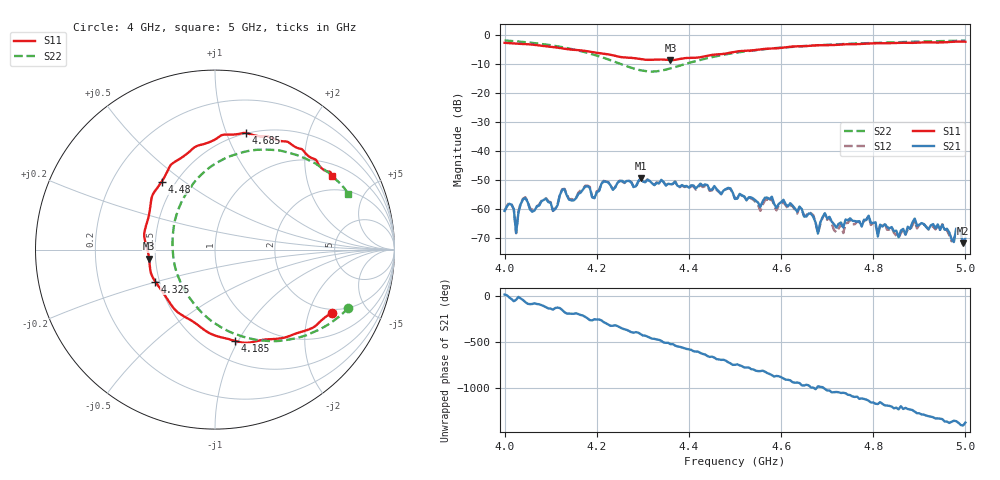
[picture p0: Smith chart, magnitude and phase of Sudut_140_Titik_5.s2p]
# Hz S RI R 50
! CMT, C1220, 16058040, 17.2.0/1
! Date: 15/08/2018 12:20:38
! Data: Format (Calibration Info)
! Freq  S11: Re/Im (F2)  S21: Re/Im (F2)  S12: Re/Im (F2)  S22: Re/Im (F2)
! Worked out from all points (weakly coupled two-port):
!   201 points, 4 GHz to 5 GHz, reference 50 ohm
!   highest |S21| = -49.51 dB at 4.295 GHz (marker M1); lowest = -71.9 dB at 4.995 GHz (marker M2)
!   lowest |S11| = -8.6 dB at 4.36 GHz (marker M3), VSWR 2.18, Z = 23 - j2.74 ohm
!   |S11| at or under -10 dB: nowhere
!   |S22| runs from -12.6 to -1.8 dB; largest |S21 - S12| = 0.00019
!   S11 on the Smith chart (normalised r, x): 4 GHz: 1.85, -2.86; 4.185 GHz: 0.69, -0.97; 4.325 GHz: 0.47, -0.20; 4.48 GHz: 0.42, +0.42; 4.685 GHz: 0.49, +1.17; 5 GHz: 1.40, +2.85
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4e9  0.6497 -0.3506  0.000901 0.000188  0.000891 0.000238  0.743 -0.3245
4.015e9  0.6227 -0.3706  0.000942 -0.000723  0.00102 -0.000662  0.7107 -0.3562
4.025e9  0.6008 -0.3871  0.000271 -0.000272  0.000283 -0.000253  0.6873 -0.3765
4.04e9  0.5683 -0.4178  0.000973 -0.00109  0.00106 -0.00106  0.6478 -0.4064
4.105e9  0.3846 -0.4911  -0.000821 -0.000433  -0.000804 -0.000446  0.4373 -0.4968
4.125e9  0.3207 -0.4985  -0.00194 -0.000865  -0.00198 -0.000925  0.3586 -0.5087
4.17e9  0.1554 -0.5182  -0.00172 0.00128  -0.0018 0.00134  0.1731 -0.4901
4.185e9  0.1089 -0.5082  -0.000146 0.00229  -0.000194 0.00239  0.1119 -0.4695
4.295e9  -0.2564 -0.2895  0.00176 -0.00284  0.00181 -0.00285  -0.2148 -0.1237
4.325e9  -0.3327 -0.1786  -0.000883 -0.00242  -0.000931 -0.0024  -0.2359 0.00104
4.335e9  -0.3503 -0.1477  -0.00141 -0.00235  -0.00152 -0.00235  -0.2368 0.0423
4.36e9  -0.3675 -0.0513  -0.00261 -0.000564  -0.00259 -0.000486  -0.2281 0.1391
4.48e9  -0.2967 0.379  0.00214 0.000485  0.00211 0.000494  -0.0174 0.4663
4.5e9  -0.2607 0.4452  0.00125 -0.000794  0.00125 -0.000811  0.0292 0.4946
4.67e9  0.1434 0.6466  0.000136 0.000713  0.00018 0.000755  0.3757 0.5486
4.68e9  0.1618 0.6501  -2.77e-05 0.000373  -3.47e-06 0.000375  0.3933 0.5442
4.685e9  0.1701 0.6503  2.42e-05 0.00058  5e-05 0.000534  0.4013 0.5421
4.835e9  0.4565 0.5672  -0.000223 -0.000402  -0.000233 -0.000372  0.5987 0.4533
4.95e9  0.6019 0.4467  -6.18e-05 0.000527  -1.51e-05 0.000543  0.7063 0.3573
4.985e9  0.6441 0.4302  0.000249 0.000387  0.000295 0.000351  0.7321 0.3253
4.995e9  0.6495 0.4184  0.000223 0.000119  0.000206 9.48e-05  0.74 0.3156
5e9  0.6537 0.4105  0.000158 0.000268  0.00017 0.000236  0.7437 0.3112
